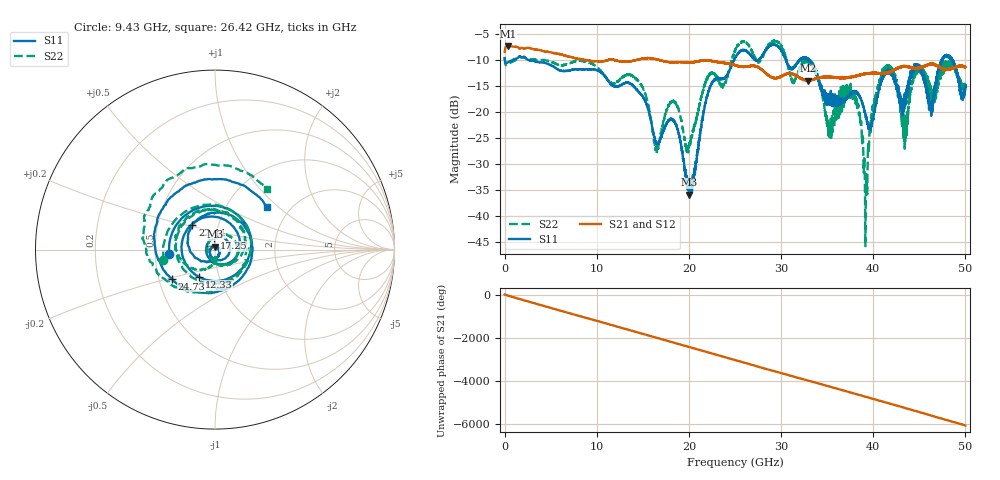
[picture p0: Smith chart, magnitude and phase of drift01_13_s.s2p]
!Created with skrf (http://scikit-rf.org).
# Hz S RI R 50.0
!freq ReS11 ImS11 ReS21 ImS21 ReS12 ImS12 ReS22 ImS22
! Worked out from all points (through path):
!   10001 points, 300 kHz to 50 GHz, reference 50 ohm
!   highest |S21| = -7.33 dB at 360.3 MHz (marker M1); lowest = -14.0 dB at 32.89 GHz (marker M2)
!   group delay of S21, straight-line fit = 335 ps
!   lowest |S11| = -35.9 dB at 20.01 GHz (marker M3), VSWR 1.03, Z = 49.9 + j1.6 ohm
!   |S11| at or under -10 dB: 2.555 GHz to 24.9 GHz (22.35 GHz wide, 163 % of centre); 30.51 GHz to 32.02 GHz (1.51 GHz wide, 4.83 % of centre); 33.06 GHz to 47.43 GHz (14.37 GHz wide, 35.7 % of centre) (the widest 3 of 23)
!   |S22| runs from -45.8 to -6.3 dB; largest |S21 - S12| = 0.0073
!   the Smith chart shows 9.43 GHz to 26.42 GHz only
!   S11 on the Smith chart (normalised r, x): 9.43 GHz: 0.59, -0.03; 12.33 GHz: 0.80, -0.25; 17.25 GHz: 0.98, +0.13; 22.44 GHz: 0.75, +0.21; 24.73 GHz: 0.58, -0.21; 26.42 GHz: 1.53, +0.84
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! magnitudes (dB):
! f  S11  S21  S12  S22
! 300 kHz  -9.6  -8.5  -8.5  -9.5
! 360.3 MHz  -10.4  -7.3  -7.3  -10.8
! 8.335 GHz  -11.8  -9.9  -9.9  -10.2
! 9.43 GHz  -11.8  -10.2  -10.2  -10.7
! 12.33 GHz  -15.1  -10.2  -10.2  -14.0
! 16.67 GHz  -26.1  -10.0  -10.0  -27.1
! 17.25 GHz  -23.6  -10.2  -10.2  -21.4
! 20.01 GHz  -35.9  -10.5  -10.5  -26.5
! 22.44 GHz  -14.6  -10.2  -10.2  -12.5
! 24.73 GHz  -10.7  -10.9  -10.9  -9.5
! 25 GHz  -9.6  -11.0  -11.0  -8.3
! 26.42 GHz  -8.5  -11.3  -11.3  -7.0
! 32.89 GHz  -9.9  -14.0  -13.9  -10.0
! 33.34 GHz  -10.8  -13.8  -13.8  -10.6
! 35.23 GHz  -17.5  -13.2  -13.2  -23.0
! 37.99 GHz  -16.0  -13.2  -13.2  -17.0
! 39.17 GHz  -20.7  -12.6  -12.7  -42.7
! 40.16 GHz  -19.7  -12.5  -12.5  -17.5
! 41.67 GHz  -12.2  -12.3  -12.3  -11.7
! 43.39 GHz  -16.7  -11.3  -11.2  -22.6
! 44.87 GHz  -11.2  -11.6  -11.5  -11.7
! 50 GHz  -15.2  -11.4  -11.4  -14.9
